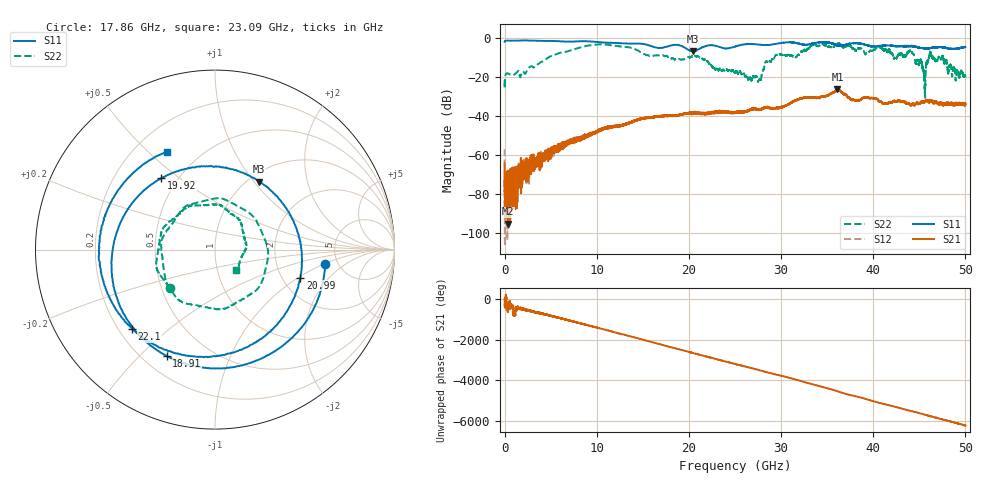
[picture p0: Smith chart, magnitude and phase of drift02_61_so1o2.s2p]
!Created with skrf (http://scikit-rf.org).
# Hz S RI R 50.0
!freq ReS11 ImS11 ReS21 ImS21 ReS12 ImS12 ReS22 ImS22
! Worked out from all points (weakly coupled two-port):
!   10001 points, 300 kHz to 50 GHz, reference 50 ohm
!   highest |S21| = -26.29 dB at 36.12 GHz (marker M1); lowest = -95.3 dB at 345.3 MHz (marker M2)
!   lowest |S11| = -6.9 dB at 20.42 GHz (marker M3), VSWR 2.65, Z = 55.9 + j53.2 ohm
!   |S11| at or under -10 dB: nowhere
!   |S22| runs from -30.7 to -2.6 dB; largest |S21 - S12| = 0.0047
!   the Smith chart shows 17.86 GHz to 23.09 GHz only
!   S11 on the Smith chart (normalised r, x): 17.86 GHz: 3.98, -1.01; 18.91 GHz: 0.29, -0.60; 19.92 GHz: 0.41, +0.43; 20.99 GHz: 2.51, -1.04; 22.1 GHz: 0.25, -0.38; 23.09 GHz: 0.33, +0.57
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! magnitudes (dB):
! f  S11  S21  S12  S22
! 300 kHz  -2.1  -64.2  -57.1  -21.7
! 345.3 MHz  -1.4  -95.3  -80.6  -18.2
! 8.335 GHz  -1.7  -51.6  -50.7  -4.7
! 16.67 GHz  -5.2  -40.4  -40.4  -9.0
! 17.86 GHz  -4.2  -40.0  -40.2  -9.7
! 18.91 GHz  -3.7  -39.7  -39.7  -10.9
! 19.92 GHz  -6.1  -38.4  -38.7  -9.9
! 20.42 GHz  -6.9  -38.7  -38.4  -9.8
! 20.99 GHz  -6.0  -38.6  -38.6  -9.4
! 22.1 GHz  -3.9  -38.8  -39.2  -12.6
! 23.09 GHz  -4.3  -37.8  -38.1  -15.9
! 25 GHz  -4.5  -38.5  -38.7  -17.7
! 27.63 GHz  -3.5  -36.7  -36.6  -21.5
! 28.43 GHz  -3.7  -35.7  -35.4  -12.2
! 29.55 GHz  -3.1  -36.0  -36.0  -8.7
! 33.34 GHz  -3.0  -30.7  -30.5  -3.8
! 36.12 GHz  -3.8  -26.3  -26.9  -3.2
! 41.67 GHz  -3.9  -33.2  -33.3  -6.2
! 44.13 GHz  -4.2  -34.4  -34.4  -7.0
! 45.5 GHz  -5.3  -33.0  -33.2  -18.1
! 46.25 GHz  -5.2  -32.0  -32.2  -8.0
! 50 GHz  -4.7  -33.8  -34.3  -19.7
